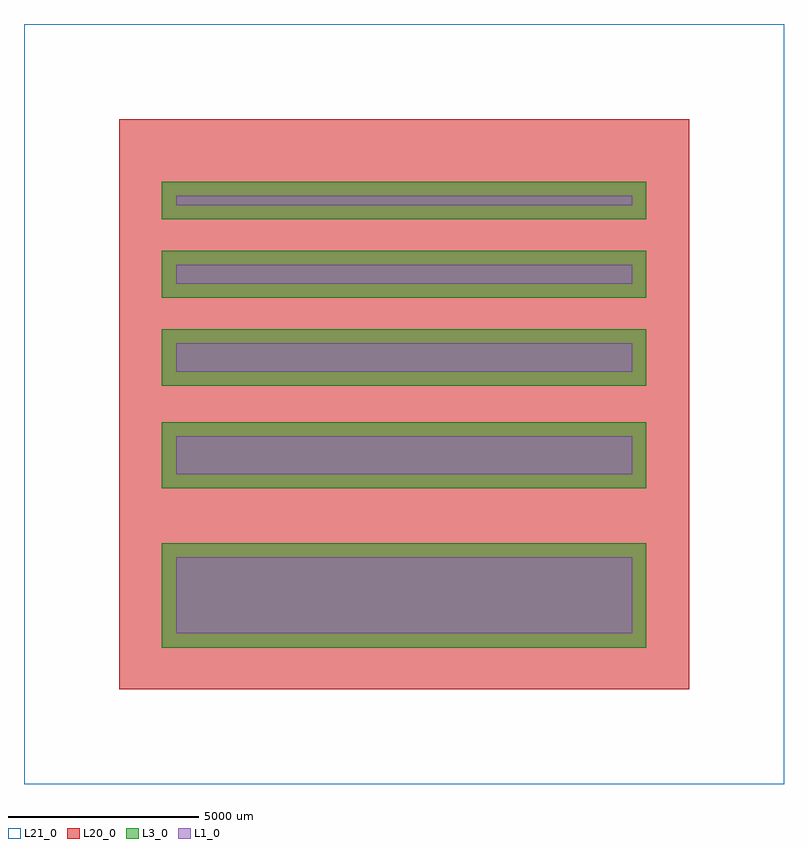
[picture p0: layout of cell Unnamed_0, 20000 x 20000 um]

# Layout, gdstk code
import gdstk
lib = gdstk.Library(unit=1e-6, precision=1e-09)
def R(c, l, rs):  # rectangles x0, y0, x1, y1
    for r in rs: c.add(gdstk.rectangle(r[:2], r[2:], *l))
L1_0 = (1, 0)
L3_0 = (3, 0)
L20_0 = (20, 0)
L21_0 = (21, 0)

rectangle_s20000_20000__ = lib.new_cell('rectangle_S20000_20000__aa48e1ac')
R(rectangle_s20000_20000__, L21_0, [(0,0,20000,20000)])

rectangle_s15000_15000__ = lib.new_cell('rectangle_S15000_15000__6a6c2047')
R(rectangle_s15000_15000__, L20_0, [(0,0,15000,15000)])

rectangle_s12000_750_l1_ = lib.new_cell('rectangle_S12000_750_L1_ca4a75ed')
R(rectangle_s12000_750_l1_, L1_0, [(0,0,12000,750)])

rectangle_s12742p34_149_ = lib.new_cell('rectangle_S12742p34_149_68b40039')
R(rectangle_s12742p34_149_, L3_0, [(0,0,12742.34,1492.34)])

rectangle_s12000_500_l1_ = lib.new_cell('rectangle_S12000_500_L1_a5c50d91')
R(rectangle_s12000_500_l1_, L1_0, [(0,0,12000,500)])

rectangle_s12742p34_124_ = lib.new_cell('rectangle_S12742p34_124_c9b7a569')
R(rectangle_s12742p34_124_, L3_0, [(0,0,12742.34,1242.34)])

rectangle_s12000_250_l1_ = lib.new_cell('rectangle_S12000_250_L1_bd49d649')
R(rectangle_s12000_250_l1_, L1_0, [(0,0,12000,250)])

rectangle_s12742p34_992_ = lib.new_cell('rectangle_S12742p34_992_d60ade29')
R(rectangle_s12742p34_992_, L3_0, [(0,0,12742.34,992.34)])

rectangle_s12000_1000_l_ = lib.new_cell('rectangle_S12000_1000_L_a701d7a2')
R(rectangle_s12000_1000_l_, L1_0, [(0,0,12000,1000)])

rectangle_s12742p34_174_ = lib.new_cell('rectangle_S12742p34_174_8369ec3c')
R(rectangle_s12742p34_174_, L3_0, [(0,0,12742.34,1742.34)])

rectangle_s12000_2000_l_ = lib.new_cell('rectangle_S12000_2000_L_1bc49b95')
R(rectangle_s12000_2000_l_, L1_0, [(0,0,12000,2000)])

rectangle_s12742p34_274_ = lib.new_cell('rectangle_S12742p34_274_0574d32a')
R(rectangle_s12742p34_274_, L3_0, [(0,0,12742.34,2742.34)])

unnamed_0 = lib.new_cell('Unnamed_0')
unnamed_0.add(gdstk.Reference(rectangle_s20000_20000__, (-10000,-10000)))
unnamed_0.add(gdstk.Reference(rectangle_s15000_15000__, (-7500,-7500)))
unnamed_0.add(gdstk.Reference(rectangle_s12000_750_l1_, (-6000,846.17)))
unnamed_0.add(gdstk.Reference(rectangle_s12742p34_149_, (-6371.17,475)))
unnamed_0.add(gdstk.Reference(rectangle_s12000_500_l1_, (-6000,3163.51)))
unnamed_0.add(gdstk.Reference(rectangle_s12742p34_124_, (-6371.17,2792.34)))
unnamed_0.add(gdstk.Reference(rectangle_s12000_250_l1_, (-6000,5230.85)))
unnamed_0.add(gdstk.Reference(rectangle_s12742p34_992_, (-6371.17,4859.68)))
unnamed_0.add(gdstk.Reference(rectangle_s12000_1000_l_, (-6000,-1846.17)))
unnamed_0.add(gdstk.Reference(rectangle_s12742p34_174_, (-6371.17,-2217.34)))
unnamed_0.add(gdstk.Reference(rectangle_s12000_2000_l_, (-6000,-6038.51)))
unnamed_0.add(gdstk.Reference(rectangle_s12742p34_274_, (-6371.17,-6409.68)))

lib.write_gds('Unnamed_0.gds')
